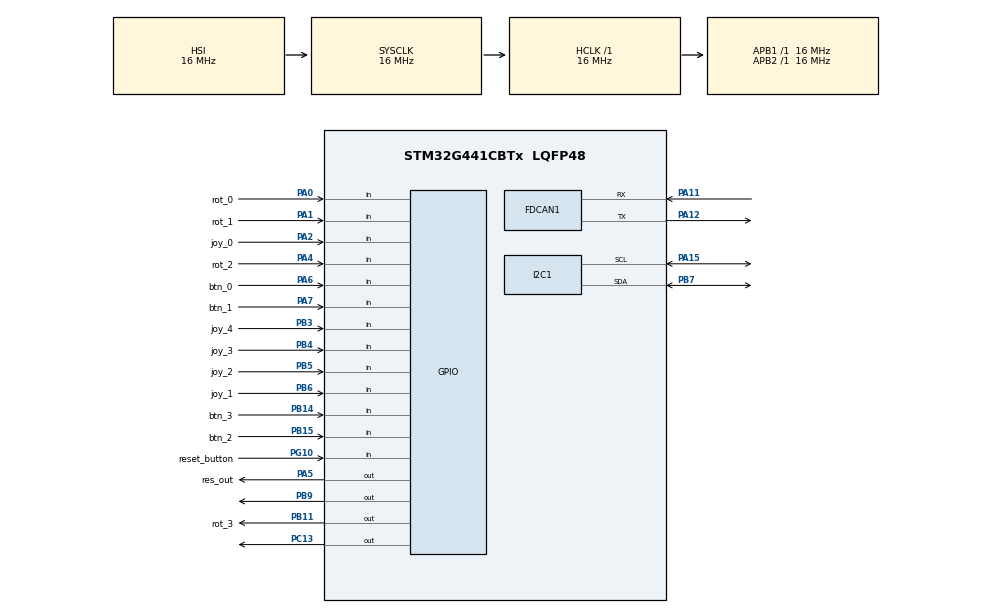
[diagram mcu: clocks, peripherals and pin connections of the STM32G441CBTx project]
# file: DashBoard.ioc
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FDCAN1.CalculateBaudRateNominal=200000
FDCAN1.CalculateTimeBitNominal=5000
FDCAN1.CalculateTimeQuantumNominal=1000.0
Mcu.Family=STM32G4
Mcu.Name=STM32G441CBTx
Mcu.Package=LQFP48
NVIC.PriorityGroup=NVIC_PRIORITYGROUP_4
PA0.GPIO_Label=rot_0
PA0.Signal=GPIO_Input
PA1.GPIO_Label=rot_1
PA1.Signal=GPIO_Input
PA11.Mode=FDCAN_Activate
PA11.Signal=FDCAN1_RX
PA12.Mode=FDCAN_Activate
PA12.Signal=FDCAN1_TX
PA13.Mode=Serial_Wire
PA13.Signal=SYS_JTMS-SWDIO
PA14.Mode=Serial_Wire
PA14.Signal=SYS_JTCK-SWCLK
PA15.Mode=I2C
PA15.Signal=I2C1_SCL
PA2.GPIO_Label=joy_0
PA2.Signal=GPIO_Input
PA4.GPIO_Label=rot_2
PA4.Signal=GPIO_Input
PA5.GPIO_Label=res_out
PA5.Signal=GPIO_Output
PA6.GPIO_Label=btn_0
PA6.Signal=GPIO_Input
PA7.GPIO_Label=btn_1
PA7.Signal=GPIO_Input
PB11.GPIO_Label=rot_3
PB11.Signal=GPIO_Output
PB14.GPIO_Label=btn_3
PB14.Signal=GPIO_Input
PB15.GPIO_Label=btn_2
PB15.Signal=GPIO_Input
PB3.GPIO_Label=joy_4
PB3.Signal=GPIO_Input
PB4.GPIO_Label=joy_3
PB4.Signal=GPIO_Input
PB5.GPIO_Label=joy_2
PB5.Signal=GPIO_Input
PB6.GPIO_Label=joy_1
PB6.Signal=GPIO_Input
PB7.Mode=I2C
PB7.Signal=I2C1_SDA
PB9.Signal=GPIO_Output
PC13.Signal=GPIO_Output
PC14-OSC32_IN.Mode=LSE-External-Oscillator
PC14-OSC32_IN.Signal=RCC_OSC32_IN
PC15-OSC32_OUT.Mode=LSE-External-Oscillator
PC15-OSC32_OUT.Signal=RCC_OSC32_OUT
PF0-OSC_IN.Mode=HSE-External-Oscillator
PF0-OSC_IN.Signal=RCC_OSC_IN
PF1-OSC_OUT.Mode=HSE-External-Oscillator
PF1-OSC_OUT.Signal=RCC_OSC_OUT
PG10-NRST.GPIO_Label=reset_button
PG10-NRST.Signal=GPIO_Input
ProjectManager.HeapSize=0x200
ProjectManager.StackSize=0x400
ProjectManager.TargetToolchain=STM32CubeIDE
RCC.AHBFreq_Value=16000000
RCC.APB1Freq_Value=16000000
RCC.APB1TimFreq_Value=16000000
RCC.APB2Freq_Value=16000000
RCC.APB2TimFreq_Value=16000000
RCC.CortexFreq_Value=16000000
RCC.EXTERNAL_CLOCK_VALUE=12288000
RCC.HCLKFreq_Value=16000000
RCC.HSE_VALUE=8000000
RCC.HSI48_VALUE=48000000
RCC.HSI_VALUE=16000000
RCC.SYSCLKFreq_VALUE=16000000
RCC.USBFreq_Value=64000000
RCC.VCOOutputFreq_Value=128000000
VP_SYS_VS_DBSignals.Mode=DisableDeadBatterySignals
board=custom

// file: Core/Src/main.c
/* USER CODE BEGIN Header */
/**
  ******************************************************************************
  * @file           : main.c
  * @brief          : Main program body
  ******************************************************************************
  * @attention
  *
  * Copyright (c) 2024 STMicroelectronics.
  * All rights reserved.
  *
  * This software is licensed under terms that can be found in the LICENSE file
  * in the root directory of this software component.
  * If no LICENSE file comes with this software, it is provided AS-IS.
  *
  ******************************************************************************
  */
/* USER CODE END Header */
#include "main.h"

/* USER CODE BEGIN PD */
#define ADDRESS 0x3C
#define LCDCOLUNS 20

#define FUNCTION_SET 0x20
#define LINES_2_4 0x08
#define LINES_1_3 0x00
#define DOUBLEHEIGHT_ON 0x04
#define DOUBLEHEIGHT_OFF 0x00
#define SET_EXREG_RE 0x02 // Extended function registers enable
#define CLEAR_EXREG_RE 0x00
#define SET_EXREG_IS 0x01 // Special registers enable
#define CLEAR_EXREG_IS 0x00

#define SET_DISPLAY 0x08
#define DISPLAY_ON 0x04
#define DISPLAY_OFF 0x00
#define CURSOR_ON 0x02
#define CURSOR_OFF 0x00
#define CURSOR_BLINK_ON 0x01
#define CURSOR_BLINK_OFF 0x00

#define SET_DDRAM_ADDR 0x80
/* USER CODE END PD */

FDCAN_HandleTypeDef hfdcan1;

I2C_HandleTypeDef hi2c1;

void SystemClock_Config(void);
static void MX_GPIO_Init(void);
static void MX_FDCAN1_Init(void);
static void MX_I2C1_Init(void);

/* USER CODE BEGIN 0 */
void send_cmd(char cmd){
	char data_u, data_l;
	uint8_t data_t[4];
	data_u = (cmd&0xf0);
	data_l = ((cmd<<4)&0xf0);
	data_t[0] = data_u|0x0C;  //en=1, rs=0
	data_t[1] = data_u|0x08;  //en=0, rs=0
	data_t[2] = data_l|0x0C;  //en=1, rs=0
	data_t[3] = data_l|0x08;  //en=0, rs=0

	HAL_I2C_Master_Transmit(&hi2c1, ADDRESS, (uint8_t* )data_t,4,100);
}

void send_data(char data){
	char data_u, data_l;
	uint8_t data_t[4];
	data_u = (data&0xf0);
	data_l = ((data<<4)&0xf0);
	data_t[0] = data_u|0x0D;  //en=1, rs=0
	data_t[1] = data_u|0x09;  //en=0, rs=0
	data_t[2] = data_l|0x0D;  //en=1, rs=0
	data_t[3] = data_l|0x09;  //en=0, rs=0

	HAL_I2C_Master_Transmit(&hi2c1, ADDRESS, (uint8_t* )data_t,4,100);
}

void lcd_init(){
	send_cmd(0x2A); //function set (extended command set)
	send_cmd(0x71); //function selection A
	send_data(0x00); // disable internal VDD regulator (2.8V I/O). data(0x5C) = enable regulator (5V I/O)
	send_cmd(0x28); //function set (fundamental command set)
	// not turning display off means it doesn't blink on re-init, so is silent error.
//	send_cmd(0x08); //display off, cursor off, blink off
	send_cmd(0x2A); //function set (extended command set)
	send_cmd(0x79); //OLED command set enabled
	send_cmd(0xD5); //set display clock divide ratio/oscillator frequency
	send_cmd(0x70); //set display clock divide ratio/oscillator frequency
	send_cmd(0x78); //OLED command set disabled
	send_cmd(0x09); //extended function set (4-lines)
	send_cmd(0x06); //COM SEG direction
	send_cmd(0x72); //function selection B
	send_data(0x00); //ROM CGRAM selection
	send_cmd(0x2A); //function set (extended command set)
	send_cmd(0x79); //OLED command set enabled
	send_cmd(0xDA); //set SEG pins hardware configuration
	send_cmd(0x10); //set SEG pins hardware configuration
	send_cmd(0xDC); //function selection C
	send_cmd(0x00); //function selection C
	send_cmd(0x81); //set contrast control
	send_cmd(0x7F); //set contrast control
	send_cmd(0xD9); //set phase length
	send_cmd(0xF1); //set phase length
	send_cmd(0xDB); //set VCOMH deselect level
	send_cmd(0x40); //set VCOMH deselect level
	send_cmd(0x78); //OLED command set disabled
	send_cmd(0x28); //function set (fundamental command set)
	// don't clear display, w're writing the whole thing anyway
	send_cmd(0x01); //clear display
	send_cmd(0x80); //set DDRAM address to 0x00
	send_cmd(0x0C); //display ON
}

int lcd_send_stringpos(int row, int col, int *str){

	uint8_t data_t[40];

	int row_offsets[] = { 0x00, 0x20, 0x40, 0x60 };//THIS WAS THE CHANGE FOR 4 LINES

	data_t[0] = 0x80; // 0x80 continuation bit with cmd
	data_t[1] = (0x80 | (col + row_offsets[row])); // command acted.
	data_t[2] = 0x40; // 0x40, rest of send is data. data bit only set 0b01000000 // @ sign.
	int len = 3;
	while (*str){
		data_t[len] = *str++;
		len++;
	} // loop till 0
	data_t[len] = 0;

	if ( HAL_I2C_Master_Transmit(&hi2c1, ADDRESS<<1,(uint8_t *) data_t, len,10) != HAL_OK ){ // blocking write to make sure it gets sent.
		return 0;
	}
}
/* USER CODE END 0 */

int main(void)
{

  /* MCU Configuration--------------------------------------------------------*/

  /* Reset of all peripherals, Initializes the Flash interface and the Systick. */
  HAL_Init();

  /* Configure the system clock */
  SystemClock_Config();

  /* Initialize all configured peripherals */
  MX_GPIO_Init();
  MX_FDCAN1_Init();
  MX_I2C1_Init();
  /* USER CODE BEGIN 2 */
  lcd_init();
  /* USER CODE END 2 */

  /* Infinite loop */
  /* USER CODE BEGIN WHILE */
  while (1)
  {
	  lcd_send_stringpos(1,0,"Hello World!");
    /* USER CODE END WHILE */

  }
}

void SystemClock_Config(void)
{
  RCC_OscInitTypeDef RCC_OscInitStruct = {0};
  RCC_ClkInitTypeDef RCC_ClkInitStruct = {0};

  /** Configure the main internal regulator output voltage
  */
  HAL_PWREx_ControlVoltageScaling(PWR_REGULATOR_VOLTAGE_SCALE1);

  /** Initializes the RCC Oscillators according to the specified parameters
  * in the RCC_OscInitTypeDef structure.
  */
  RCC_OscInitStruct.OscillatorType = RCC_OSCILLATORTYPE_HSI;
  RCC_OscInitStruct.HSIState = RCC_HSI_ON;
  RCC_OscInitStruct.HSICalibrationValue = RCC_HSICALIBRATION_DEFAULT;
  RCC_OscInitStruct.PLL.PLLState = RCC_PLL_NONE;
  if (HAL_RCC_OscConfig(&RCC_OscInitStruct) != HAL_OK)
  {
    Error_Handler();
  }

  /** Initializes the CPU, AHB and APB buses clocks
  */
  RCC_ClkInitStruct.ClockType = RCC_CLOCKTYPE_HCLK|RCC_CLOCKTYPE_SYSCLK
                              |RCC_CLOCKTYPE_PCLK1|RCC_CLOCKTYPE_PCLK2;
  RCC_ClkInitStruct.SYSCLKSource = RCC_SYSCLKSOURCE_HSI;
  RCC_ClkInitStruct.AHBCLKDivider = RCC_SYSCLK_DIV1;
  RCC_ClkInitStruct.APB1CLKDivider = RCC_HCLK_DIV1;
  RCC_ClkInitStruct.APB2CLKDivider = RCC_HCLK_DIV1;

  if (HAL_RCC_ClockConfig(&RCC_ClkInitStruct, FLASH_LATENCY_0) != HAL_OK)
  {
    Error_Handler();
  }
}

static void MX_FDCAN1_Init(void)
{

  hfdcan1.Instance = FDCAN1;
  hfdcan1.Init.ClockDivider = FDCAN_CLOCK_DIV1;
  hfdcan1.Init.FrameFormat = FDCAN_FRAME_CLASSIC;
  hfdcan1.Init.Mode = FDCAN_MODE_NORMAL;
  hfdcan1.Init.AutoRetransmission = DISABLE;
  hfdcan1.Init.TransmitPause = DISABLE;
  hfdcan1.Init.ProtocolException = DISABLE;
  hfdcan1.Init.NominalPrescaler = 16;
  hfdcan1.Init.NominalSyncJumpWidth = 1;
  hfdcan1.Init.NominalTimeSeg1 = 2;
  hfdcan1.Init.NominalTimeSeg2 = 2;
  hfdcan1.Init.DataPrescaler = 1;
  hfdcan1.Init.DataSyncJumpWidth = 1;
  hfdcan1.Init.DataTimeSeg1 = 1;
  hfdcan1.Init.DataTimeSeg2 = 1;
  hfdcan1.Init.StdFiltersNbr = 0;
  hfdcan1.Init.ExtFiltersNbr = 0;
  hfdcan1.Init.TxFifoQueueMode = FDCAN_TX_FIFO_OPERATION;
  if (HAL_FDCAN_Init(&hfdcan1) != HAL_OK)
  {
    Error_Handler();
  }

}

static void MX_I2C1_Init(void)
{

  hi2c1.Instance = I2C1;
  hi2c1.Init.Timing = 0x00303D5B;
  hi2c1.Init.OwnAddress1 = 0;
  hi2c1.Init.AddressingMode = I2C_ADDRESSINGMODE_7BIT;
  hi2c1.Init.DualAddressMode = I2C_DUALADDRESS_DISABLE;
  hi2c1.Init.OwnAddress2 = 0;
  hi2c1.Init.OwnAddress2Masks = I2C_OA2_NOMASK;
  hi2c1.Init.GeneralCallMode = I2C_GENERALCALL_DISABLE;
  hi2c1.Init.NoStretchMode = I2C_NOSTRETCH_DISABLE;
  if (HAL_I2C_Init(&hi2c1) != HAL_OK)
  {
    Error_Handler();
  }

  /** Configure Analogue filter
  */
  if (HAL_I2CEx_ConfigAnalogFilter(&hi2c1, I2C_ANALOGFILTER_ENABLE) != HAL_OK)
  {
    Error_Handler();
  }

  /** Configure Digital filter
  */
  if (HAL_I2CEx_ConfigDigitalFilter(&hi2c1, 0) != HAL_OK)
  {
    Error_Handler();
  }

}

static void MX_GPIO_Init(void)
{
  GPIO_InitTypeDef GPIO_InitStruct = {0};

  /* GPIO Ports Clock Enable */
  __HAL_RCC_GPIOC_CLK_ENABLE();
  __HAL_RCC_GPIOF_CLK_ENABLE();
  __HAL_RCC_GPIOG_CLK_ENABLE();
  __HAL_RCC_GPIOA_CLK_ENABLE();
  __HAL_RCC_GPIOB_CLK_ENABLE();

  /*Configure GPIO pin Output Level */
  HAL_GPIO_WritePin(GPIOC, GPIO_PIN_13, GPIO_PIN_RESET);

  /*Configure GPIO pin Output Level */
  HAL_GPIO_WritePin(res_out_GPIO_Port, res_out_Pin, GPIO_PIN_RESET);

  /*Configure GPIO pin Output Level */
  HAL_GPIO_WritePin(GPIOB, rot_3_Pin|GPIO_PIN_9, GPIO_PIN_RESET);

  /*Configure GPIO pin : PC13 */
  GPIO_InitStruct.Pin = GPIO_PIN_13;
  GPIO_InitStruct.Mode = GPIO_MODE_OUTPUT_PP;
  GPIO_InitStruct.Pull = GPIO_NOPULL;
  GPIO_InitStruct.Speed = GPIO_SPEED_FREQ_LOW;
  HAL_GPIO_Init(GPIOC, &GPIO_InitStruct);

  /*Configure GPIO pin : reset_button_Pin */
  GPIO_InitStruct.Pin = reset_button_Pin;
  GPIO_InitStruct.Mode = GPIO_MODE_INPUT;
  GPIO_InitStruct.Pull = GPIO_NOPULL;
  HAL_GPIO_Init(reset_button_GPIO_Port, &GPIO_InitStruct);

  /*Configure GPIO pins : rot_0_Pin rot_1_Pin joy_0_Pin rot_2_Pin
                           btn_0_Pin btn_1_Pin */
  GPIO_InitStruct.Pin = rot_0_Pin|rot_1_Pin|joy_0_Pin|rot_2_Pin
                          |btn_0_Pin|btn_1_Pin;
  GPIO_InitStruct.Mode = GPIO_MODE_INPUT;
  GPIO_InitStruct.Pull = GPIO_NOPULL;
  HAL_GPIO_Init(GPIOA, &GPIO_InitStruct);

  /*Configure GPIO pin : res_out_Pin */
  GPIO_InitStruct.Pin = res_out_Pin;
  GPIO_InitStruct.Mode = GPIO_MODE_OUTPUT_PP;
  GPIO_InitStruct.Pull = GPIO_NOPULL;
  GPIO_InitStruct.Speed = GPIO_SPEED_FREQ_LOW;
  HAL_GPIO_Init(res_out_GPIO_Port, &GPIO_InitStruct);

  /*Configure GPIO pins : rot_3_Pin PB9 */
  GPIO_InitStruct.Pin = rot_3_Pin|GPIO_PIN_9;
  GPIO_InitStruct.Mode = GPIO_MODE_OUTPUT_PP;
  GPIO_InitStruct.Pull = GPIO_NOPULL;
  GPIO_InitStruct.Speed = GPIO_SPEED_FREQ_LOW;
  HAL_GPIO_Init(GPIOB, &GPIO_InitStruct);

  /*Configure GPIO pins : btn_3_Pin btn_2_Pin joy_4_Pin joy_3_Pin
                           joy_2_Pin joy_1_Pin */
  GPIO_InitStruct.Pin = btn_3_Pin|btn_2_Pin|joy_4_Pin|joy_3_Pin
                          |joy_2_Pin|joy_1_Pin;
  GPIO_InitStruct.Mode = GPIO_MODE_INPUT;
  GPIO_InitStruct.Pull = GPIO_NOPULL;
  HAL_GPIO_Init(GPIOB, &GPIO_InitStruct);

}

void Error_Handler(void)
{
  __disable_irq();
  while (1)
  {
  }
}
